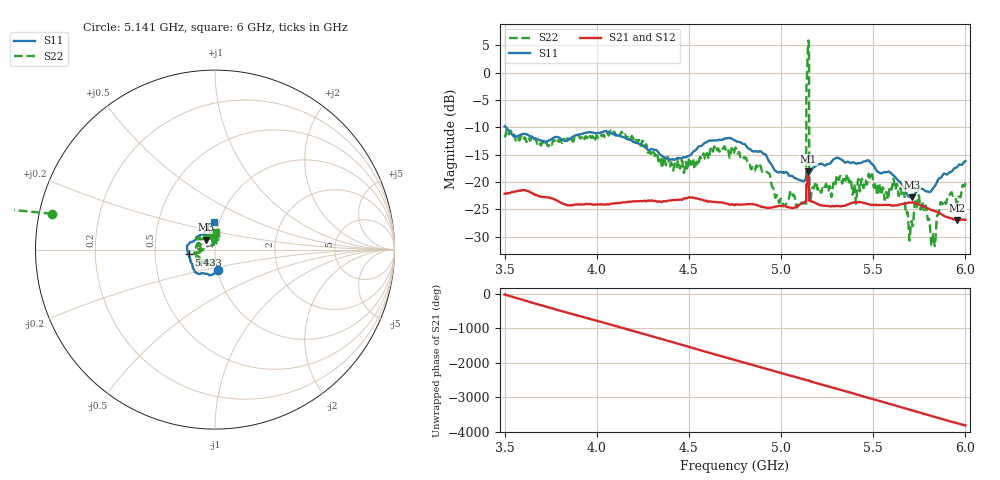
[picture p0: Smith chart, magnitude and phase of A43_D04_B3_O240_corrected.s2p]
! Created with skrf 1.9.0 (http://scikit-rf.org).
# Hz S RI R 50.0
!freq ReS11 ImS11 ReS21 ImS21 ReS12 ImS12 ReS22 ImS22
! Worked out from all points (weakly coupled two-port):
!   1601 points, 3.5 GHz to 6 GHz, reference 50 ohm
!   highest |S21| = -18.01 dB at 5.147 GHz (marker M1); lowest = -26.9 dB at 5.956 GHz (marker M2)
!   lowest |S11| = -22.8 dB at 5.709 GHz (marker M3), VSWR 1.16, Z = 45.2 + j4.97 ohm
!   |S11| at or under -10 dB: 3.508 GHz to end of sweep
!   |S22| runs from -31.7 to 5.9 dB; largest |S21 - S12| = 0.0012
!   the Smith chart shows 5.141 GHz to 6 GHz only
!   S11 on the Smith chart (normalised r, x): 5.141 GHz: 1.01, -0.23; 5.433 GHz: 0.74, -0.04; 6 GHz: 0.94, +0.30
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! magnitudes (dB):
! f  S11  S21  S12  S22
! 3.5 GHz  -9.8  -22.1  -22.1  -11.5
! 3.719 GHz  -12.6  -22.7  -22.7  -13.2
! 3.917 GHz  -11.2  -24.1  -24.1  -11.8
! 4.142 GHz  -11.8  -23.7  -23.7  -11.5
! 4.334 GHz  -14.6  -23.6  -23.5  -16.2
! 4.481 GHz  -15.5  -23.0  -22.9  -16.3
! 4.75 GHz  -12.4  -24.2  -24.1  -13.9
! 5.095 GHz  -19.6  -24.3  -24.2  -24.4
! 5.123 GHz  -19.8  -23.7  -23.7  -23.9
! 5.141 GHz  -18.9  -20.3  -20.2  -0.7
! 5.147 GHz  -18.7  -18.0  -18.0  5.6
! 5.15 GHz  -18.6  -18.6  -18.6  5.5
! 5.167 GHz  -17.7  -23.6  -23.5  -21.3
! 5.433 GHz  -16.5  -23.7  -23.7  -20.4
! 5.584 GHz  -18.1  -24.2  -24.1  -22.3
! 5.656 GHz  -20.5  -24.0  -23.9  -22.5
! 5.709 GHz  -22.8  -23.7  -23.6  -27.3
! 5.755 GHz  -21.3  -24.3  -24.2  -24.7
! 5.825 GHz  -21.1  -25.2  -25.1  -29.6
! 5.873 GHz  -18.9  -26.0  -25.9  -24.1
! 5.956 GHz  -17.2  -26.9  -26.9  -23.6
! 6 GHz  -16.2  -26.9  -26.8  -20.1
